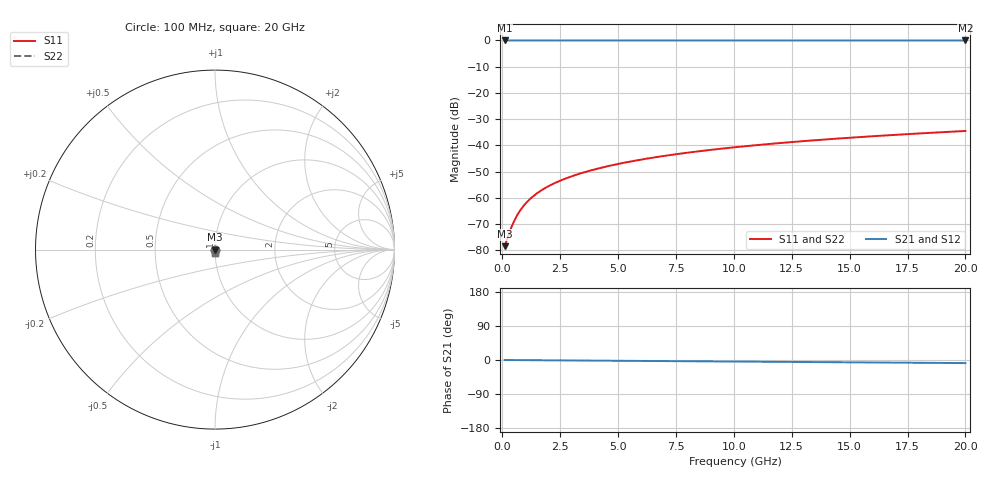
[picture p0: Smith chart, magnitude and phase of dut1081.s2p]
! Touchstone file exported from HFSS 2026.1.0
!  File:  C:/ffzhzh/LocalFiles/Ansys_Project_Files/temp_train_TSV_1081_1783190121_51560.aedt
!  Generated:  02:36:40 AM Jul  5, 2026
!  Design:  TSV
!  Project:  temp_train_TSV_1081_1783190121_51560
! Variables:
!  h_bsmrdl = 2um
!  h_ox = 20um
!  h_rdl = 5um
!  h_sub = 82.73um
!  h_tmrdl = 5um
!  h_tsv = 82.73um
!  h_via = 3um
!  l_bsmrdl = 300um
!  l_sub = 422.92um
!  l_tmrdl = 200um
!  m_sub = 200um
!  pitch = 40.52um
!  r_tsv = 11.46um
!  s_tmrdl = 10um
!  w_bsmrdl = 18um
!  w_sub = 500um
!  w_tmrdl = 12um
!  x_tsv_center1 = 206um
!  x_tsv_center2 = 524um
!  x_tsv_center3 = 736um
!  x_tsv_center4 = 1054um
!  x_tsv_center5 = 1266um
!  x_tsv_center6 = 1584um
# GHz S MA R 50.000000
! Terminal data exported
! Port[1] = TSV1_1_T1
! Port[2] = TSV1_1_T2
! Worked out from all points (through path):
!   200 points, 100 MHz to 20 GHz, reference 50 ohm
!   highest |S21| = 0.00 dB at 100 MHz (marker M1); lowest = 0.0 dB at 20 GHz (marker M2)
!   group delay of S21, straight-line fit = 1.13 ps
!   lowest |S11| = -78.4 dB at 100 MHz (marker M3), VSWR 1.00, Z = 50 - j0.00486 ohm
!   |S11| at or under -10 dB: start of sweep to end of sweep
!   |S22| runs from -78.4 to -34.5 dB; largest |S21 - S12| = 3.2e-15
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0.1  0.0001195 -24.0  0.9999 -0.0  0.9999 -0.0  0.0001195 -24.0
! Gamma 0 0 0 0
! Port Impedance 50 0 50 0
0.3  0.0002132 -48.0  0.9999 -0.1  0.9999 -0.1  0.0002132 -48.0
0.4  0.0002783 -53.3  0.9998 -0.2  0.9998 -0.2  0.0002783 -53.3
0.5  0.0003511 -57.0  0.9998 -0.2  0.9998 -0.2  0.0003511 -57.0
0.6  0.0004296 -59.9  0.9998 -0.3  0.9998 -0.3  0.0004296 -59.9
0.7  0.000512 -62.2  0.9998 -0.3  0.9998 -0.3  0.000512 -62.2
0.9  0.000684 -66.1  0.9997 -0.4  0.9997 -0.4  0.000684 -66.1
1.2  0.0009502 -70.3  0.9997 -0.5  0.9997 -0.5  0.0009502 -70.3
1.4  0.00113 -72.4  0.9996 -0.6  0.9996 -0.6  0.00113 -72.4
1.6  0.001309 -74.1  0.9996 -0.7  0.9996 -0.7  0.001309 -74.1
2.1  0.001759 -77.2  0.9996 -0.9  0.9996 -0.9  0.001759 -77.2
2.7  0.002301 -79.5  0.9995 -1.1  0.9995 -1.1  0.002301 -79.5
3.5  0.003029 -81.6  0.9995 -1.4  0.9995 -1.4  0.003029 -81.6
4.2  0.003673 -82.8  0.9994 -1.7  0.9994 -1.7  0.003673 -82.8
5  0.004416 -84.0  0.9994 -2.1  0.9994 -2.1  0.004416 -84.0
5.9  0.005259 -85.0  0.9993 -2.4  0.9993 -2.4  0.005259 -85.0
6.8  0.006109 -85.9  0.9993 -2.8  0.9993 -2.8  0.006109 -85.9
8.3  0.007534 -87.2  0.9992 -3.4  0.9992 -3.4  0.007534 -87.2
10.1  0.009253 -88.6  0.9991 -4.1  0.9991 -4.1  0.009253 -88.6
13.4  0.01242 -90.7  0.9989 -5.5  0.9989 -5.5  0.01242 -90.7
16.7  0.0156 -92.6  0.9987 -6.8  0.9987 -6.8  0.0156 -92.6
20  0.01879 -94.3  0.9986 -8.1  0.9986 -8.1  0.01879 -94.3
